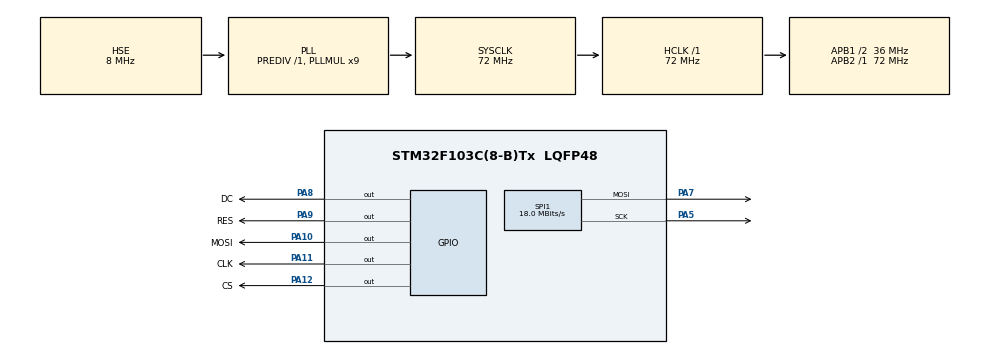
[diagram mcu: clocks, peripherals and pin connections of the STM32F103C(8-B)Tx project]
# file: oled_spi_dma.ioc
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Dma.Request0=SPI1_TX
Dma.SPI1_TX.0.Direction=DMA_MEMORY_TO_PERIPH
Dma.SPI1_TX.0.Instance=DMA1_Channel3
Dma.SPI1_TX.0.MemDataAlignment=DMA_MDATAALIGN_BYTE
Dma.SPI1_TX.0.MemInc=DMA_MINC_ENABLE
Dma.SPI1_TX.0.Mode=DMA_NORMAL
Dma.SPI1_TX.0.PeriphDataAlignment=DMA_PDATAALIGN_BYTE
Dma.SPI1_TX.0.PeriphInc=DMA_PINC_DISABLE
Dma.SPI1_TX.0.Priority=DMA_PRIORITY_LOW
Mcu.Family=STM32F1
Mcu.Name=STM32F103C(8-B)Tx
Mcu.Package=LQFP48
NVIC.DMA1_Channel3_IRQn=true\:0\:0\:false\:false\:true\:false\:true\:true
NVIC.PriorityGroup=NVIC_PRIORITYGROUP_4
NVIC.TIM2_IRQn=true\:0\:0\:false\:false\:true\:true\:true\:true
PA10.GPIO_Label=MOSI
PA10.Signal=GPIO_Output
PA11.GPIO_Label=CLK
PA11.Signal=GPIO_Output
PA12.GPIO_Label=CS
PA12.Signal=GPIO_Output
PA13.Mode=Serial_Wire
PA13.Signal=SYS_JTMS-SWDIO
PA14.Mode=Serial_Wire
PA14.Signal=SYS_JTCK-SWCLK
PA5.Mode=TX_Only_Simplex_Unidirect_Master
PA5.Signal=SPI1_SCK
PA7.Mode=TX_Only_Simplex_Unidirect_Master
PA7.Signal=SPI1_MOSI
PA8.GPIO_Label=DC
PA8.Signal=GPIO_Output
PA9.GPIO_Label=RES
PA9.Signal=GPIO_Output
PD0-OSC_IN.Mode=HSE-External-Oscillator
PD0-OSC_IN.Signal=RCC_OSC_IN
PD1-OSC_OUT.Mode=HSE-External-Oscillator
PD1-OSC_OUT.Signal=RCC_OSC_OUT
ProjectManager.HeapSize=0x200
ProjectManager.StackSize=0x400
ProjectManager.TargetToolchain=MDK-ARM V5.32
RCC.AHBFreq_Value=72000000
RCC.APB1CLKDivider=RCC_HCLK_DIV2
RCC.APB1Freq_Value=36000000
RCC.APB1TimFreq_Value=72000000
RCC.APB2Freq_Value=72000000
RCC.APB2TimFreq_Value=72000000
RCC.HCLKFreq_Value=72000000
RCC.PLLMUL=RCC_PLL_MUL9
RCC.PLLSourceVirtual=RCC_PLLSOURCE_HSE
RCC.SYSCLKFreq_VALUE=72000000
RCC.SYSCLKSource=RCC_SYSCLKSOURCE_PLLCLK
RCC.USBFreq_Value=72000000
SPI1.BaudRatePrescaler=SPI_BAUDRATEPRESCALER_4
SPI1.CalculateBaudRate=18.0 MBits/s
SPI1.Direction=SPI_DIRECTION_2LINES
SPI1.Mode=SPI_MODE_MASTER
SPI1.VirtualType=VM_MASTER
TIM2.Period=10000
TIM2.Prescaler=7200-1
VP_TIM2_VS_ClockSourceINT.Mode=Internal
board=custom

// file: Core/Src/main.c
/* USER CODE BEGIN Header */
/**
    ******************************************************************************
    * @file           : main.c
    * @brief          : Main program body
    ******************************************************************************
    * @attention
    *
    * <h2><center>&copy; Copyright (c) 2022 STMicroelectronics.
    * All rights reserved.</center></h2>
    *
    * This software component is licensed by ST under BSD 3-Clause license,
    * the "License"; You may not use this file except in compliance with the
    * License. You may obtain a copy of the License at:
    *                        opensource.org/licenses/BSD-3-Clause
    *
    ******************************************************************************
    */
/* USER CODE END Header */
#include "main.h"
#include "dma.h"
#include "spi.h"
#include "tim.h"
#include "gpio.h"

/* USER CODE BEGIN Includes */
#include "oled.h"
#include "string.h"
#include "stdio.h"
#include "perf_counter.h"
/* USER CODE END Includes */

/* USER CODE BEGIN PV */

char mystr[128];
char mystr2[128];
uint16_t counter;
uint32_t cpuCycleCount1;
extern volatile uint16_t fps;
/* USER CODE END PV */

void SystemClock_Config(void);

int main(void)
{

    /* MCU Configuration--------------------------------------------------------*/

    /* Reset of all peripherals, Initializes the Flash interface and the Systick. */
    HAL_Init();

    /* Configure the system clock */
    SystemClock_Config();

    /* Initialize all configured peripherals */
    MX_GPIO_Init();
    MX_DMA_Init();
    MX_SPI1_Init();
    MX_TIM2_Init();
    /* USER CODE BEGIN 2 */
    init_cycle_counter(true);
    HAL_TIM_Base_Start_IT(&htim2);
    __HAL_TIM_CLEAR_IT(&htim2, TIM_IT_UPDATE);
    OLED_Init();

    OLED_ShowString(2, 1, "STM32F103 SPI+DMA", 12, 1);

    OLED_ShowString(2, 25, "Num: ", 16, 1);
    OLED_ShowString(2, 45, "FPS: ", 16, 1);

    OLED_Refresh_SPI();

    /* USER CODE END 2 */

    /* Infinite loop */
    /* USER CODE BEGIN WHILE */
    while (1)
    {

        counter++;
        sprintf(mystr, "%d", fps);
        sprintf(mystr2, "%d", counter);
        start_cycle_counter();
        OLED_ShowString(40, 25, mystr2, 16, 1);
        OLED_ShowString(40, 45, mystr, 16, 1);
        cpuCycleCount1 = stop_cycle_counter();

        OLED_Refresh_SPI();
        /* USER CODE END WHILE */

    }
}

void SystemClock_Config(void)
{
    RCC_OscInitTypeDef RCC_OscInitStruct = {0};
    RCC_ClkInitTypeDef RCC_ClkInitStruct = {0};

    /** Initializes the RCC Oscillators according to the specified parameters
    * in the RCC_OscInitTypeDef structure.
    */
    RCC_OscInitStruct.OscillatorType = RCC_OSCILLATORTYPE_HSE;
    RCC_OscInitStruct.HSEState = RCC_HSE_ON;
    RCC_OscInitStruct.HSEPredivValue = RCC_HSE_PREDIV_DIV1;
    RCC_OscInitStruct.HSIState = RCC_HSI_ON;
    RCC_OscInitStruct.PLL.PLLState = RCC_PLL_ON;
    RCC_OscInitStruct.PLL.PLLSource = RCC_PLLSOURCE_HSE;
    RCC_OscInitStruct.PLL.PLLMUL = RCC_PLL_MUL9;
    if (HAL_RCC_OscConfig(&RCC_OscInitStruct) != HAL_OK)
    {
        Error_Handler();
    }

    /** Initializes the CPU, AHB and APB buses clocks
    */
    RCC_ClkInitStruct.ClockType = RCC_CLOCKTYPE_HCLK | RCC_CLOCKTYPE_SYSCLK
                                  | RCC_CLOCKTYPE_PCLK1 | RCC_CLOCKTYPE_PCLK2;
    RCC_ClkInitStruct.SYSCLKSource = RCC_SYSCLKSOURCE_PLLCLK;
    RCC_ClkInitStruct.AHBCLKDivider = RCC_SYSCLK_DIV1;
    RCC_ClkInitStruct.APB1CLKDivider = RCC_HCLK_DIV2;
    RCC_ClkInitStruct.APB2CLKDivider = RCC_HCLK_DIV1;

    if (HAL_RCC_ClockConfig(&RCC_ClkInitStruct, FLASH_LATENCY_2) != HAL_OK)
    {
        Error_Handler();
    }
}

void Error_Handler(void)
{
    __disable_irq();
    while (1)
    {
    }
}
